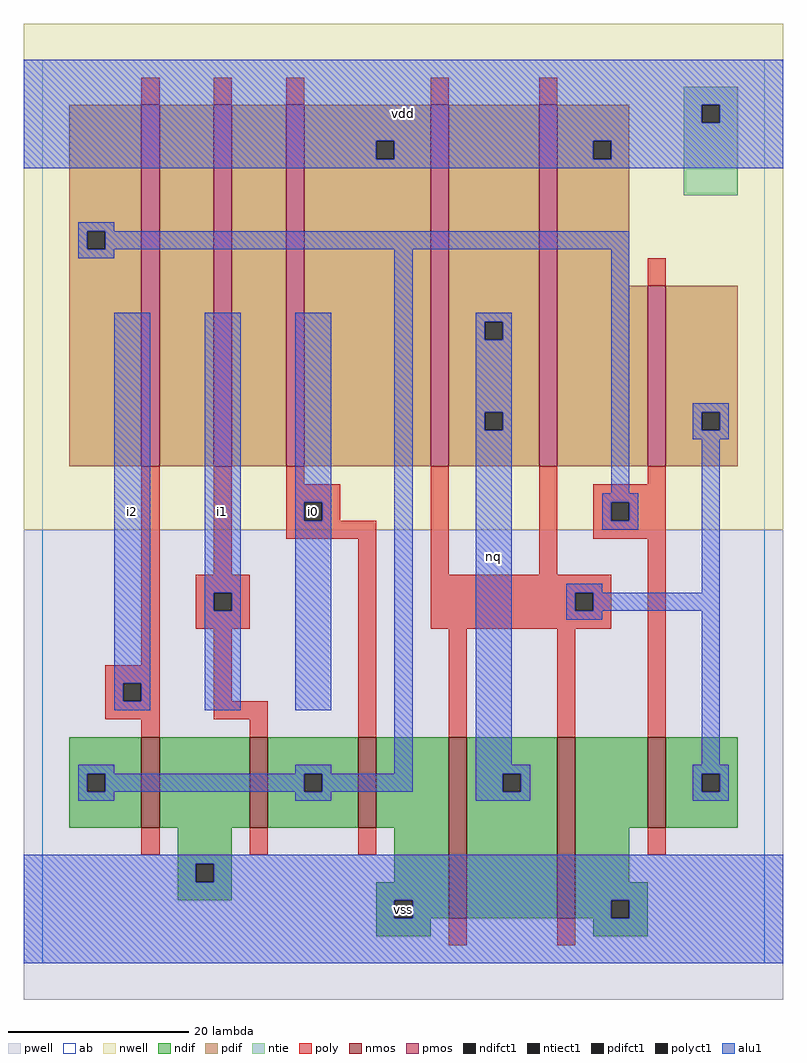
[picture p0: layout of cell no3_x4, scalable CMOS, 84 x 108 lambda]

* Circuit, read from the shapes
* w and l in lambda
.subckt no3_x4 i0 i1 i2 nq vdd vss
M1 vss i2 n1 VSUBS nfet w=10 l=2
M2 n1 i1 vss VSUBS nfet w=10 l=2
M3 vss i0 n1 VSUBS nfet w=10 l=2
M4 nq n2 vss VSUBS nfet w=20 l=2 m=2
M5 n2 n1 vss VSUBS nfet w=10 l=2
M6 n3 i2 n1 vdd pfet w=40 l=2
M7 n4 i1 n3 vdd pfet w=40 l=2
M8 vdd i0 n4 vdd pfet w=40 l=2
M9 nq n2 vdd vdd pfet w=40 l=2 m=2
M10 n2 n1 vdd vdd pfet w=20 l=2
.ends

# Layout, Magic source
magic
tech scmos
<< ab >>
rect 0 0 80 100
<< nwell >>
rect -2 48 82 104
<< pwell >>
rect -2 -4 82 48
<< poly >>
rect 11 95 13 98
rect 19 95 21 98
rect 27 95 29 98
rect 43 95 45 98
rect 55 95 57 98
rect 67 75 69 78
rect 11 33 13 55
rect 19 43 21 55
rect 27 53 29 55
rect 27 51 33 53
rect 27 49 29 51
rect 31 49 33 51
rect 27 47 37 49
rect 17 41 23 43
rect 17 39 19 41
rect 21 39 23 41
rect 17 37 23 39
rect 7 31 13 33
rect 7 29 9 31
rect 11 29 13 31
rect 7 27 13 29
rect 19 29 21 37
rect 19 27 25 29
rect 11 25 13 27
rect 23 25 25 27
rect 35 25 37 47
rect 43 43 45 55
rect 55 43 57 55
rect 67 53 69 55
rect 61 51 69 53
rect 61 49 63 51
rect 65 49 69 51
rect 61 47 69 49
rect 43 41 63 43
rect 43 39 59 41
rect 61 39 63 41
rect 43 37 63 39
rect 45 25 47 37
rect 57 25 59 37
rect 67 25 69 47
rect 11 12 13 15
rect 23 12 25 15
rect 35 12 37 15
rect 67 12 69 15
rect 45 2 47 5
rect 57 2 59 5
<< ndif >>
rect 3 21 11 25
rect 3 19 5 21
rect 7 19 11 21
rect 3 15 11 19
rect 13 15 23 25
rect 25 21 35 25
rect 25 19 29 21
rect 31 19 35 21
rect 25 15 35 19
rect 37 15 45 25
rect 15 11 21 15
rect 15 9 17 11
rect 19 9 21 11
rect 39 9 45 15
rect 15 7 21 9
rect 37 7 45 9
rect 37 5 39 7
rect 41 5 45 7
rect 47 21 57 25
rect 47 19 51 21
rect 53 19 57 21
rect 47 5 57 19
rect 59 15 67 25
rect 69 21 77 25
rect 69 19 73 21
rect 75 19 77 21
rect 69 15 77 19
rect 59 9 65 15
rect 59 7 67 9
rect 59 5 63 7
rect 65 5 67 7
rect 37 3 43 5
rect 61 3 67 5
<< pdif >>
rect 3 81 11 95
rect 3 79 5 81
rect 7 79 11 81
rect 3 55 11 79
rect 13 55 19 95
rect 21 55 27 95
rect 29 91 43 95
rect 29 89 37 91
rect 39 89 43 91
rect 29 55 43 89
rect 45 71 55 95
rect 45 69 49 71
rect 51 69 55 71
rect 45 61 55 69
rect 45 59 49 61
rect 51 59 55 61
rect 45 55 55 59
rect 57 91 65 95
rect 57 89 61 91
rect 63 89 65 91
rect 57 75 65 89
rect 57 55 67 75
rect 69 61 77 75
rect 69 59 73 61
rect 75 59 77 61
rect 69 55 77 59
<< alu1 >>
rect -2 95 82 100
rect -2 93 73 95
rect 75 93 82 95
rect -2 91 82 93
rect -2 89 37 91
rect 39 89 61 91
rect 63 89 82 91
rect -2 88 82 89
rect 4 81 8 82
rect 4 79 5 81
rect 7 79 65 81
rect 4 78 8 79
rect 8 31 12 72
rect 8 29 9 31
rect 11 29 12 31
rect 8 28 12 29
rect 18 41 22 72
rect 18 39 19 41
rect 21 39 22 41
rect 18 28 22 39
rect 28 51 32 72
rect 28 49 29 51
rect 31 49 32 51
rect 28 28 32 49
rect 4 21 8 22
rect 28 21 32 22
rect 39 21 41 79
rect 4 19 5 21
rect 7 19 29 21
rect 31 19 41 21
rect 48 71 52 72
rect 48 69 49 71
rect 51 69 52 71
rect 48 61 52 69
rect 48 59 49 61
rect 51 59 52 61
rect 48 22 52 59
rect 63 52 65 79
rect 72 61 76 62
rect 72 59 73 61
rect 75 59 76 61
rect 72 58 76 59
rect 62 51 66 52
rect 62 49 63 51
rect 65 49 66 51
rect 62 48 66 49
rect 58 41 62 42
rect 73 41 75 58
rect 58 39 59 41
rect 61 39 75 41
rect 58 38 62 39
rect 73 22 75 39
rect 48 21 54 22
rect 48 19 51 21
rect 53 19 54 21
rect 4 18 8 19
rect 28 18 32 19
rect 48 18 54 19
rect 72 21 76 22
rect 72 19 73 21
rect 75 19 76 21
rect 72 18 76 19
rect -2 11 82 12
rect -2 9 17 11
rect 19 9 82 11
rect -2 7 82 9
rect -2 5 39 7
rect 41 5 63 7
rect 65 5 82 7
rect -2 0 82 5
<< ntie >>
rect 71 95 77 97
rect 71 93 73 95
rect 75 93 77 95
rect 71 85 77 93
<< nmos >>
rect 11 15 13 25
rect 23 15 25 25
rect 35 15 37 25
rect 45 5 47 25
rect 57 5 59 25
rect 67 15 69 25
<< pmos >>
rect 11 55 13 95
rect 19 55 21 95
rect 27 55 29 95
rect 43 55 45 95
rect 55 55 57 95
rect 67 55 69 75
<< polyct1 >>
rect 29 49 31 51
rect 19 39 21 41
rect 9 29 11 31
rect 63 49 65 51
rect 59 39 61 41
<< ndifct1 >>
rect 5 19 7 21
rect 29 19 31 21
rect 17 9 19 11
rect 39 5 41 7
rect 51 19 53 21
rect 73 19 75 21
rect 63 5 65 7
<< ntiect1 >>
rect 73 93 75 95
<< pdifct1 >>
rect 5 79 7 81
rect 37 89 39 91
rect 49 69 51 71
rect 49 59 51 61
rect 61 89 63 91
rect 73 59 75 61
<< labels >>
rlabel alu1 10 50 10 50 6 i2
rlabel polyct1 30 50 30 50 6 i0
rlabel alu1 20 50 20 50 6 i1
rlabel ndifct1 40 6 40 6 6 vss
rlabel alu1 50 45 50 45 6 nq
rlabel alu1 40 94 40 94 6 vdd
<< end >>
